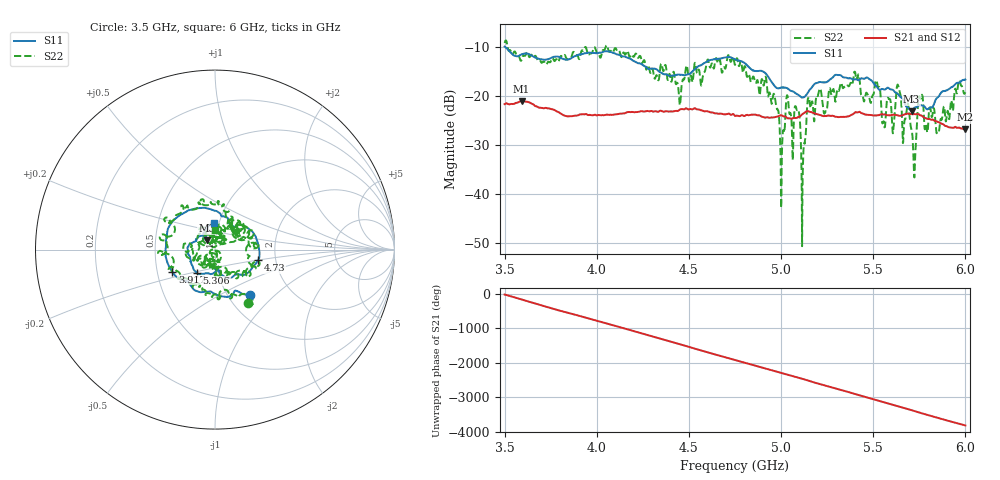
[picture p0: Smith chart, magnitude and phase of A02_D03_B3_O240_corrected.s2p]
! Created with skrf 1.9.0 (http://scikit-rf.org).
# Hz S RI R 50.0
!freq ReS11 ImS11 ReS21 ImS21 ReS12 ImS12 ReS22 ImS22
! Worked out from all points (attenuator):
!   1601 points, 3.5 GHz to 6 GHz, reference 50 ohm
!   highest |S21| = -21.11 dB at 3.592 GHz (marker M1); lowest = -26.8 dB at 5.998 GHz (marker M2)
!   lowest |S11| = -23.1 dB at 5.708 GHz (marker M3), VSWR 1.15, Z = 45.3 + j4.72 ohm
!   |S11| at or under -10 dB: 3.504 GHz to end of sweep
!   |S22| runs from -50.7 to -8.6 dB; largest |S21 - S12| = 0.001
!   S11 on the Smith chart (normalised r, x): 3.5 GHz: 1.26, -0.71; 3.917 GHz: 0.60, -0.16; 4.73 GHz: 1.62, -0.21; 5.306 GHz: 0.79, -0.21; 6 GHz: 0.94, +0.28
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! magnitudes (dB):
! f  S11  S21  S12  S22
! 3.5 GHz  -9.9  -21.7  -21.6  -9.2
! 3.592 GHz  -11.5  -21.1  -21.1  -12.6
! 3.917 GHz  -11.5  -23.7  -23.7  -10.8
! 4.334 GHz  -14.9  -23.2  -23.2  -16.8
! 4.73 GHz  -12.1  -23.9  -23.8  -12.9
! 4.75 GHz  -12.5  -24.1  -24.0  -13.6
! 4.966 GHz  -18.0  -24.3  -24.3  -20.1
! 5.005 GHz  -18.2  -24.0  -24.0  -31.6
! 5.034 GHz  -18.4  -24.5  -24.5  -19.9
! 5.088 GHz  -19.6  -24.4  -24.4  -22.8
! 5.119 GHz  -20.3  -23.6  -23.6  -33.8
! 5.167 GHz  -18.2  -23.3  -23.3  -21.2
! 5.306 GHz  -15.7  -24.3  -24.2  -18.7
! 5.584 GHz  -18.4  -23.9  -23.9  -20.5
! 5.609 GHz  -18.8  -23.8  -23.8  -26.7
! 5.638 GHz  -19.7  -24.0  -24.0  -18.2
! 5.708 GHz  -23.1  -23.7  -23.7  -26.8
! 5.727 GHz  -22.3  -23.7  -23.7  -33.1
! 5.756 GHz  -21.9  -24.0  -23.9  -20.6
! 5.85 GHz  -20.3  -25.3  -25.2  -27.3
! 5.998 GHz  -16.7  -26.8  -26.8  -19.4
! 6 GHz  -16.7  -26.8  -26.8  -19.2
